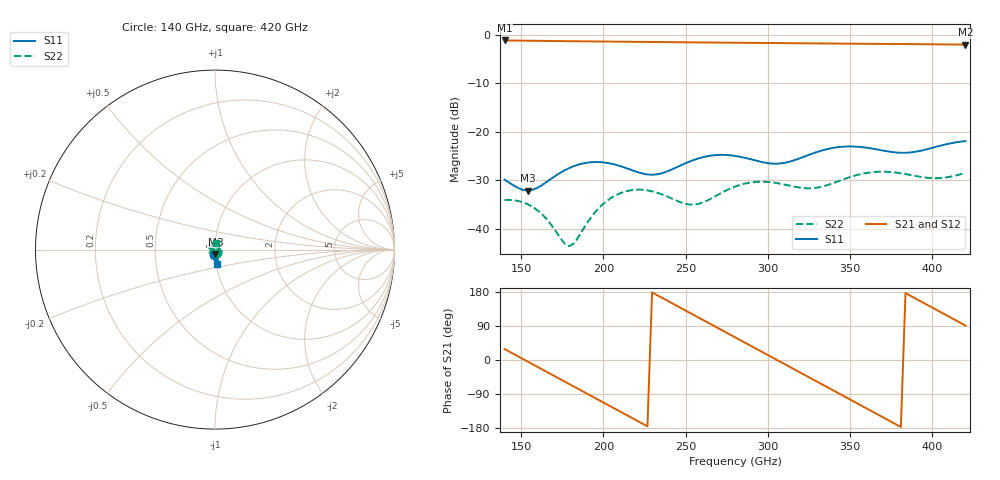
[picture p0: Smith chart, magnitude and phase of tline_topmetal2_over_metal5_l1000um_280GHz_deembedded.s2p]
! Created with skrf 2.0.1 (http://scikit-rf.org).
# GHz S DB R 50.0
!freq dBS11 angS11 dBS21 angS21 dBS12 angS12 dBS22 angS22
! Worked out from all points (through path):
!   101 points, 140 GHz to 420 GHz, reference 50 ohm
!   highest |S21| = -1.19 dB at 140 GHz (marker M1); lowest = -2.0 dB at 420 GHz (marker M2)
!   group delay of S21, straight-line fit = 6.53 ps
!   lowest |S11| = -32.1 dB at 154 GHz (marker M3), VSWR 1.05, Z = 50.2 - j2.48 ohm
!   |S11| at or under -10 dB: start of sweep to end of sweep
!   |S22| runs from -43.5 to -28.2 dB; largest |S21 - S12| = 1.5e-14
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140  -29.84 -99.0  -1.19 28.8  -1.19 28.8  -34.02 -61.1
154  -32.09 -83.7  -1.24 -4.1  -1.24 -4.1  -34.89 -93.3
165.2  -30.39 -67.7  -1.28 -30.4  -1.28 -30.4  -37.82 -129.1
179.2  -27.45 -69.8  -1.34 -63.3  -1.34 -63.3  -43.53 137.4
187.6  -26.50 -76.7  -1.37 -83.0  -1.37 -83.0  -40.12 67.3
201.6  -26.36 -89.0  -1.41 -115.9  -1.41 -115.9  -34.34 6.0
215.6  -27.67 -94.5  -1.46 -148.7  -1.46 -148.7  -32.09 -41.6
235.2  -28.56 -79.4  -1.52 165.2  -1.52 165.2  -32.82 -113.9
257.6  -25.49 -76.2  -1.59 112.6  -1.59 112.6  -34.84 126.8
268.8  -24.77 -83.2  -1.62 86.3  -1.62 86.3  -33.11 65.2
280  -24.94 -89.8  -1.66 60.0  -1.66 60.0  -31.27 14.8
294  -26.03 -91.4  -1.69 27.1  -1.69 27.1  -30.28 -41.9
305.2  -26.56 -84.6  -1.72 0.8  -1.72 0.8  -30.53 -88.6
316.4  -25.80 -76.6  -1.76 -25.5  -1.76 -25.5  -31.30 -141.1
327.6  -24.40 -75.0  -1.79 -51.9  -1.79 -51.9  -31.59 159.7
338.8  -23.35 -79.2  -1.82 -78.2  -1.82 -78.2  -30.66 100.6
350  -23.00 -85.2  -1.85 -104.5  -1.85 -104.5  -29.30 47.9
361.2  -23.33 -89.7  -1.88 -130.8  -1.88 -130.8  -28.40 0.2
375.2  -24.14 -89.0  -1.91 -163.7  -1.91 -163.7  -28.28 -58.4
394.8  -23.74 -79.6  -1.96 150.2  -1.96 150.2  -29.37 -149.4
408.8  -22.52 -79.1  -2.00 117.3  -2.00 117.3  -29.36 137.3
420  -21.90 -82.8  -2.03 91.0  -2.03 91.0  -28.46 81.1
